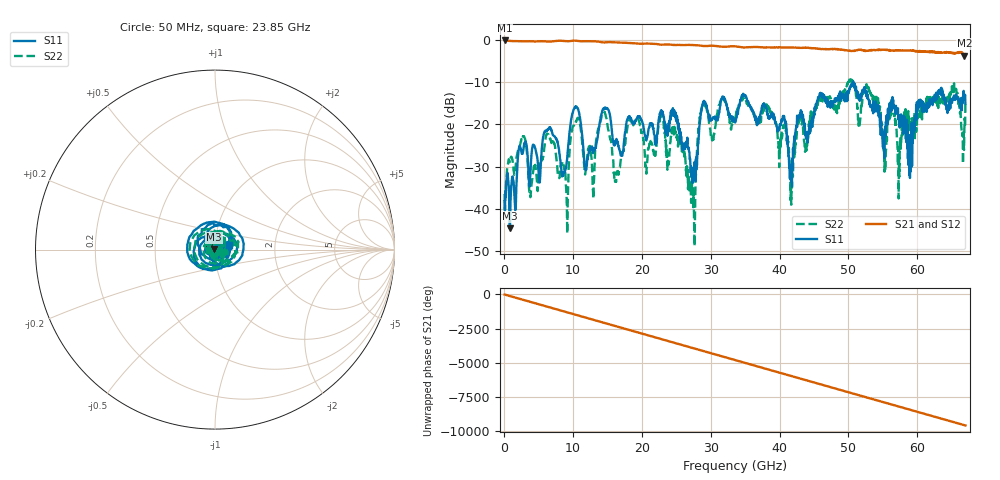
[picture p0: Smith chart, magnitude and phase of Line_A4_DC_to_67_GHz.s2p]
#  HZ  S  MA  R  50.00
! Rohde & Schwarz ZVA67 4Ports - Version 4.11 - 1305.7002k04 SN: 101051
! Date: 2023-05-31 14:26:46
! Measurements: S11 S21 S12 S22
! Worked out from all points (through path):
!   1340 points, 50 MHz to 67 GHz, reference 50 ohm
!   highest |S21| = -0.03 dB at 50 MHz (marker M1); lowest = -3.6 dB at 66.85 GHz (marker M2)
!   group delay of S21, straight-line fit = 398 ps
!   lowest |S11| = -44.7 dB at 800 MHz (marker M3), VSWR 1.01, Z = 49.4 + j0.0775 ohm
!   |S11| at or under -10 dB: start of sweep to 50.69 GHz; 50.71 GHz to end of sweep
!   |S22| runs from -48.9 to -9.2 dB; largest |S21 - S12| = 0.28
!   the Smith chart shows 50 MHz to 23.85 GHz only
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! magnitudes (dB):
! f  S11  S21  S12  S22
! 50 MHz  -38.2  0.0  0.0  -36.5
! 800 MHz  -44.7  -0.1  -0.1  -29.0
! 3.85 GHz  -29.8  -0.2  -0.2  -36.3
! 6.35 GHz  -21.3  -0.3  -0.3  -22.3
! 9.05 GHz  -29.3  -0.2  -0.2  -36.9
! 11.25 GHz  -21.8  -0.2  -0.2  -22.9
! 12.9 GHz  -26.8  -0.2  -0.3  -35.9
! 14.55 GHz  -16.1  -0.5  -0.5  -17.1
! 16.3 GHz  -23.4  -0.5  -0.5  -31.3
! 18.2 GHz  -18.0  -0.6  -0.6  -18.8
! 22.4 GHz  -19.4  -0.9  -1.0  -20.2
! 27.45 GHz  -30.4  -1.1  -1.1  -39.7
! 28.8 GHz  -15.2  -1.3  -1.3  -15.2
! 33.55 GHz  -19.5  -1.4  -1.4  -17.9
! 38.25 GHz  -17.7  -1.7  -1.7  -15.4
! 41.7 GHz  -31.7  -1.7  -1.7  -39.1
! 44.7 GHz  -19.0  -1.9  -1.9  -17.5
! 55.85 GHz  -16.9  -2.3  -2.3  -19.2
! 58.95 GHz  -32.7  -2.4  -2.4  -21.4
! 60.35 GHz  -14.3  -2.6  -2.6  -17.8
! 66.85 GHz  -13.0  -3.6  -3.6  -21.1
! 67 GHz  -15.1  -3.4  -3.3  -15.2
